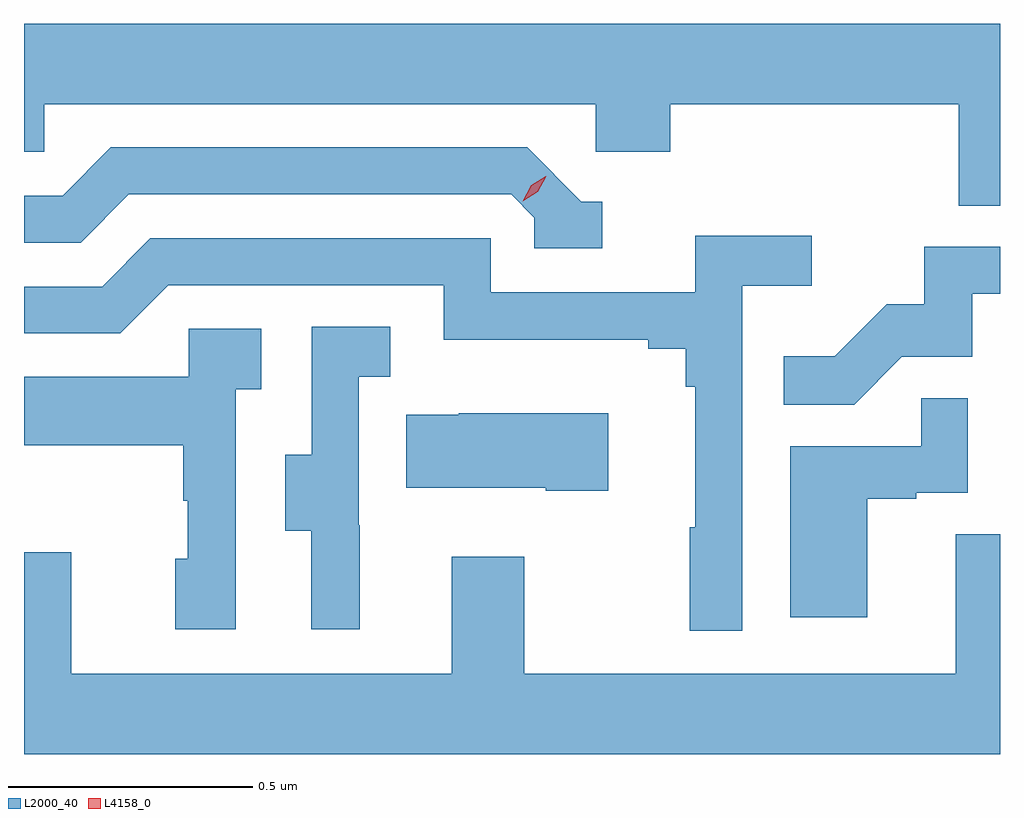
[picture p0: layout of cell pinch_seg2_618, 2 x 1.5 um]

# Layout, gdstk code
import gdstk
lib = gdstk.Library(unit=1e-6, precision=1e-09)
def P(c, l, *ps):  # polygons
    for p in ps: c.add(gdstk.Polygon(p, *l))
L2000_40 = (2000, 40)
L4158_0 = (4158, 0)

pinch_seg2_618 = lib.new_cell('pinch_seg2_618')
P(pinch_seg2_618, L2000_40, [(1037.568,623.824),(1035.568,623.824),(1035.568,623.562),(1035.609,623.562),(1035.609,623.66),(1036.74,623.66),(1036.74,623.562),(1036.892,623.562),(1036.892,623.66),(1037.483,623.66),(1037.483,623.452),(1037.568,623.452)],
  [(1036.753,623.46),(1036.71,623.46),(1036.599,623.571),(1035.746,623.571),(1035.647,623.472),(1035.568,623.472),(1035.568,623.376),(1035.684,623.376),(1035.783,623.475),(1036.566,623.475),(1036.614,623.427),(1036.614,623.364),(1036.753,623.364)],
  [(1037.04,623.288),(1037.182,623.288),(1037.182,623.39),(1036.943,623.39),(1036.943,623.274),(1036.524,623.274),(1036.524,623.385),(1035.827,623.385),(1035.728,623.286),(1035.568,623.286),(1035.568,623.19),(1035.765,623.19),(1035.864,623.289),(1036.428,623.289),(1036.428,623.177),(1036.847,623.177),(1036.847,623.158),(1036.924,623.158),(1036.924,623.081),(1036.943,623.081),(1036.943,622.793),(1036.932,622.793),(1036.932,622.581),(1037.04,622.581)],
  [(1037.367,623.142),(1037.511,623.142),(1037.511,623.271),(1037.568,623.271),(1037.568,623.367),(1037.413,623.367),(1037.413,623.25),(1037.336,623.25),(1037.229,623.143),(1037.125,623.143),(1037.125,623.044),(1037.269,623.044)],
  [(1036.256,622.797),(1036.254,622.797),(1036.254,623.101),(1036.318,623.101),(1036.318,623.204),(1036.158,623.204),(1036.158,622.941),(1036.103,622.941),(1036.103,622.786),(1036.157,622.786),(1036.157,622.584),(1036.256,622.584)],
  [(1036.002,623.075),(1036.054,623.075),(1036.054,623.199),(1035.906,623.199),(1035.906,623.101),(1035.568,623.101),(1035.568,622.961),(1035.894,622.961),(1035.894,622.847),(1035.904,622.847),(1035.904,622.728),(1035.878,622.728),(1035.878,622.584),(1036.002,622.584)],
  [(1037.296,622.851),(1037.396,622.851),(1037.396,622.863),(1037.502,622.863),(1037.502,623.057),(1037.407,623.057),(1037.407,622.959),(1037.138,622.959),(1037.138,622.608),(1037.296,622.608)],
  [(1036.765,623.026),(1036.459,623.026),(1036.459,623.023),(1036.351,623.023),(1036.351,622.874),(1036.637,622.874),(1036.637,622.867),(1036.765,622.867)],
  [(1037.568,622.778),(1037.477,622.778),(1037.477,622.492),(1036.593,622.492),(1036.593,622.732),(1036.445,622.732),(1036.445,622.492),(1035.665,622.492),(1035.665,622.741),(1035.568,622.741),(1035.568,622.328),(1037.568,622.328)])
P(pinch_seg2_618, L4158_0, [(1036.59,623.461),(1036.59,623.461),(1036.607,623.494),(1036.637,623.512),(1036.638,623.512),(1036.638,623.512),(1036.621,623.48),(1036.59,623.461)])

lib.write_gds('pinch_seg2_618.gds')
